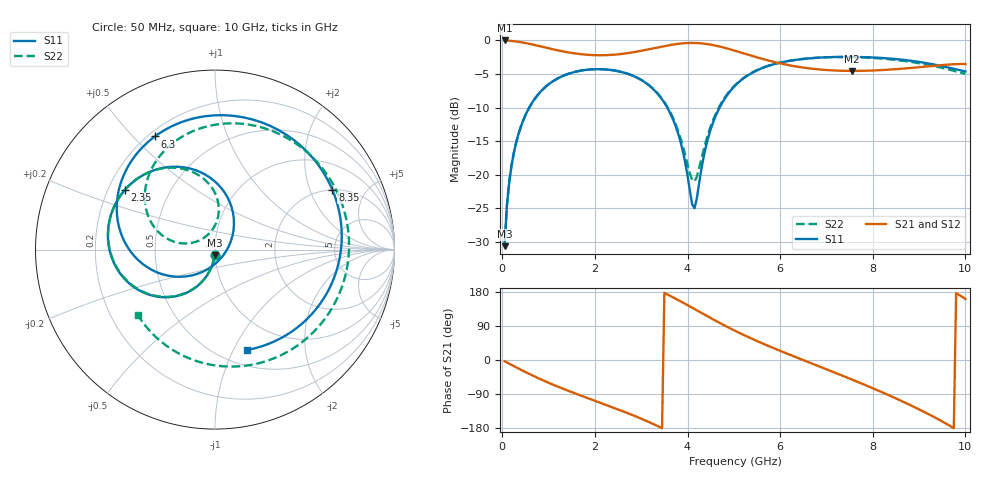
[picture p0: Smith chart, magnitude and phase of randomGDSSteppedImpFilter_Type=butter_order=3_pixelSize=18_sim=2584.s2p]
! freq	dB(S11)	phase(S11)	dB(S12)	phase(S12)
!  dB(S21)	phase(S21)	dB(S22)	phase(S22)
!S-par simulation data
#  GHz  S  DB  R 50
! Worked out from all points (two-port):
!   200 points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, 50 MHz to 10 GHz, reference 50 ohm
!   highest |S21| = -0.01 dB at 50 MHz (marker M1); lowest = -4.5 dB at 7.55 GHz (marker M2)
!   |S21| within 3 dB of the highest: start of sweep to 5.756 GHz
!   lowest |S11| = -30.6 dB at 50 MHz (marker M3), VSWR 1.06, Z = 49.7 - j2.93 ohm
!   |S11| at or under -10 dB: start of sweep to 581.8 MHz; 3.562 GHz to 4.691 GHz (1.129 GHz wide, 27.4 % of centre)
!   |S22| runs from -30.4 to -2.5 dB; largest |S21 - S12| = 0
!   S11 on the Smith chart (normalised r, x): 50 MHz: 0.99, -0.06; 2.35 GHz: 0.27, +0.28; 6.3 GHz: 0.22, +0.58; 8.35 GHz: 2.01, +2.89; 10 GHz: 0.67, -1.14
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0.05  -30.60 -93.7  -0.01 -3.3  -0.01 -3.3  -30.45 -93.5
0.1  -24.56 -97.0  -0.02 -6.6  -0.02 -6.6  -24.47 -97.0
0.2  -18.58 -103.4  -0.08 -13.0  -0.08 -13.0  -18.56 -103.6
0.5  -11.12 -122.1  -0.39 -31.8  -0.39 -31.8  -11.12 -122.4
1.05  -6.27 -152.9  -1.25 -62.7  -1.25 -62.7  -6.27 -153.5
1.75  -4.43 173.7  -2.09 -96.3  -2.09 -96.3  -4.43 172.8
2.35  -4.40 146.7  -2.15 -123.3  -2.15 -123.3  -4.40 146.2
2.9  -5.51 120.0  -1.68 -149.6  -1.68 -149.6  -5.49 121.1
3.4  -8.32 90.8  -0.98 -177.0  -0.98 -177.0  -8.24 97.5
3.8  -13.91 58.7  -0.51 158.1  -0.51 158.1  -13.52 84.3
4.15  -24.98 -45.4  -0.38 134.6  -0.38 134.6  -20.96 131.5
4.5  -13.22 -136.9  -0.63 110.7  -0.63 110.7  -12.77 169.2
5.05  -6.57 -178.5  -1.59 75.6  -1.59 75.6  -6.49 145.5
5.6  -4.15 150.9  -2.72 44.7  -2.72 44.7  -4.12 116.1
6.3  -2.93 118.0  -3.82 9.4  -3.82 9.4  -2.92 79.6
6.7  -2.63 100.5  -4.22 -9.9  -4.22 -9.9  -2.63 58.8
7.55  -2.45 63.7  -4.53 -51.5  -4.53 -51.5  -2.49 13.5
8.35  -2.69 26.9  -4.35 -93.1  -4.35 -93.1  -2.80 -31.4
8.8  -3.01 4.1  -4.11 -118.4  -4.11 -118.4  -3.17 -57.9
9.2  -3.43 -18.1  -3.86 -142.6  -3.86 -142.6  -3.65 -82.7
9.65  -4.06 -46.4  -3.58 -172.6  -3.58 -172.6  -4.34 -113.0
10  -4.62 -72.1  -3.52 161.1  -3.52 161.1  -4.97 -139.6
